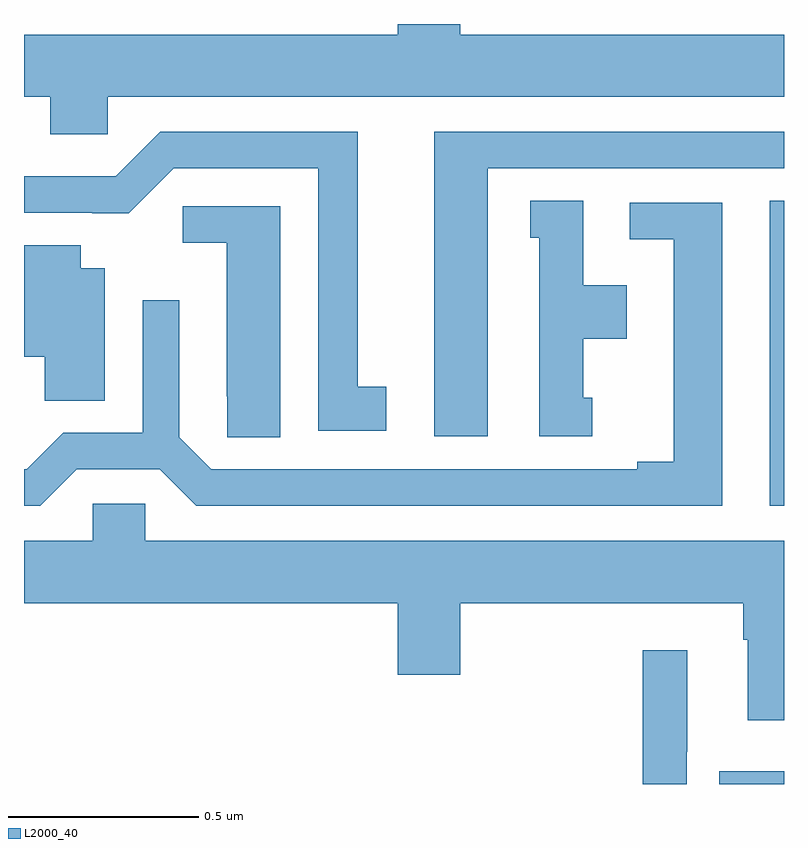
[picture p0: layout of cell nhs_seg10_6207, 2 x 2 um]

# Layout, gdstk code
import gdstk
lib = gdstk.Library(unit=1e-6, precision=1e-09)
def R(c, l, rs):  # rectangles x0, y0, x1, y1
    for r in rs: c.add(gdstk.rectangle(r[:2], r[2:], *l))
def P(c, l, *ps):  # polygons
    for p in ps: c.add(gdstk.Polygon(p, *l))
L2000_40 = (2000, 40)

nhs_seg10_6207 = lib.new_cell('nhs_seg10_6207')
R(nhs_seg10_6207, L2000_40, [(189.829,1306.5,190,1306.534), (189.962,1307.232,190,1308.035)])
P(nhs_seg10_6207, L2000_40, [(188.22,1308.308),(190,1308.308),(190,1308.472),(189.148,1308.472),(189.148,1308.5),(188.984,1308.5),(188.984,1308.472),(188,1308.472),(188,1308.308),(188.069,1308.308),(188.069,1308.21),(188.22,1308.21)],
  [(189.22,1308.12),(190,1308.12),(190,1308.216),(189.08,1308.216),(189.08,1307.415),(189.22,1307.415)],
  [(188.953,1307.546),(188.878,1307.546),(188.878,1308.216),(188.358,1308.216),(188.241,1308.099),(188,1308.099),(188,1308.003),(188.18,1308.003),(188.18,1308.002),(188.276,1308.002),(188.394,1308.12),(188.774,1308.12),(188.774,1307.43),(188.953,1307.43)],
  [(189.496,1307.517),(189.472,1307.517),(189.472,1307.672),(189.586,1307.672),(189.586,1307.812),(189.472,1307.812),(189.472,1308.035),(189.332,1308.035),(189.332,1307.937),(189.356,1307.937),(189.356,1307.415),(189.496,1307.415)],
  [(188.139,1307.328),(188.357,1307.328),(188.453,1307.232),(189.838,1307.232),(189.838,1308.03),(189.594,1308.03),(189.594,1307.934),(189.71,1307.934),(189.71,1307.348),(189.614,1307.348),(189.614,1307.328),(188.493,1307.328),(188.409,1307.412),(188.409,1307.773),(188.313,1307.773),(188.313,1307.424),(188.103,1307.424),(188.007,1307.328),(188,1307.328),(188,1307.232),(188.043,1307.232)],
  [(188.674,1308.021),(188.418,1308.021),(188.418,1307.924),(188.534,1307.924),(188.534,1307.521),(188.535,1307.521),(188.535,1307.413),(188.674,1307.413)],
  [(188.212,1307.857),(188.149,1307.857),(188.149,1307.918),(188,1307.918),(188,1307.624),(188.054,1307.624),(188.054,1307.509),(188.212,1307.509)],
  [(190,1307.14),(188.319,1307.14),(188.319,1307.238),(188.181,1307.238),(188.181,1307.14),(188,1307.14),(188,1306.976),(188.984,1306.976),(188.984,1306.788),(189.148,1306.788),(189.148,1306.976),(189.893,1306.976),(189.893,1306.88),(189.905,1306.88),(189.905,1306.668),(190,1306.668)],
  [(189.744,1306.585),(189.745,1306.585),(189.745,1306.852),(189.628,1306.852),(189.628,1306.5),(189.744,1306.5)])

lib.write_gds('nhs_seg10_6207.gds')
